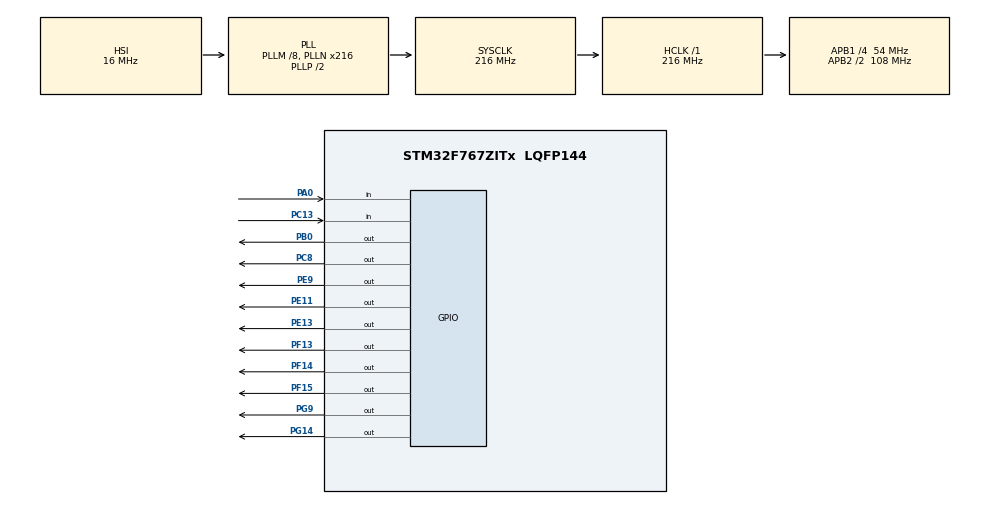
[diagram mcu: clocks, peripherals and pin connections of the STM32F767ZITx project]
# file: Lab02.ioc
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Mcu.Family=STM32F7
Mcu.Name=STM32F767ZITx
Mcu.Package=LQFP144
NVIC.PriorityGroup=NVIC_PRIORITYGROUP_4
PA0/WKUP.Signal=GPIO_Input
PB0.Signal=GPIO_Output
PC13.Signal=GPIO_Input
PC8.Signal=GPIO_Output
PE11.Signal=GPIO_Output
PE13.Signal=GPIO_Output
PE9.Signal=GPIO_Output
PF13.Signal=GPIO_Output
PF14.Signal=GPIO_Output
PF15.Signal=GPIO_Output
PG14.Signal=GPIO_Output
PG9.Signal=GPIO_Output
ProjectManager.HeapSize=0x200
ProjectManager.StackSize=0x400
ProjectManager.TargetToolchain=STM32CubeIDE
RCC.AHBFreq_Value=216000000
RCC.APB1CLKDivider=RCC_HCLK_DIV4
RCC.APB1Freq_Value=54000000
RCC.APB1TimFreq_Value=108000000
RCC.APB2CLKDivider=RCC_HCLK_DIV2
RCC.APB2Freq_Value=108000000
RCC.APB2TimFreq_Value=216000000
RCC.CortexFreq_Value=216000000
RCC.HCLKFreq_Value=216000000
RCC.HSE_VALUE=25000000
RCC.HSI_VALUE=16000000
RCC.LSE_VALUE=32768
RCC.PLLM=8
RCC.PLLN=216
RCC.SYSCLKFreq_VALUE=216000000
RCC.SYSCLKSource=RCC_SYSCLKSOURCE_PLLCLK
RCC.USBFreq_Value=216000000
RCC.VCOOutputFreq_Value=432000000
board=custom

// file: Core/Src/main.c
/* USER CODE BEGIN Header */
/**
 ******************************************************************************
 * @file           : main.c
 * @brief          : Main program body
 ******************************************************************************
 * @attention
 *
 * Copyright (c) 2023 STMicroelectronics.
 * All rights reserved.
 *
 * This software is licensed under terms that can be found in the LICENSE file
 * in the root directory of this software component.
 * If no LICENSE file comes with this software, it is provided AS-IS.
 *
 ******************************************************************************
 */
/* USER CODE END Header */
#include "main.h"
#include "gpio.h"

/* USER CODE BEGIN PV */
uint8_t num = 0;
uint8_t counting[9][8] = { { 0, 0, 0, 0, 0, 0, 0, 0 },
		{ 0, 0, 0, 0, 0, 0, 0, 1 }, { 0, 0, 0, 0, 0, 0, 1, 0 }, { 0, 0, 0, 0, 0,
				1, 0, 0 }, { 0, 0, 0, 0, 1, 0, 0, 0 },
		{ 0, 0, 0, 1, 0, 0, 0, 0 }, { 0, 0, 1, 0, 0, 0, 0, 0 }, { 0, 1, 0, 0, 0,
				0, 0, 0 }, { 1, 0, 0, 0, 0, 0, 0, 0 } };
uint8_t temp = 0;

/* USER CODE END PV */

void SystemClock_Config(void);
static void MPU_Initialize(void);
static void MPU_Config(void);

int main(void) {

	/* MCU Configuration--------------------------------------------------------*/

	/* Reset of all peripherals, Initializes the Flash interface and the Systick. */
	HAL_Init();

	/* MPU Configuration--------------------------------------------------------*/
	MPU_Config();

	/* Configure the system clock */
	SystemClock_Config();

	/* Initialize all configured peripherals */
	MX_GPIO_Init();

	/* Infinite loop */
	while (1) {

		/* USER CODE BEGIN 3 */
		/*01*/
//	//Check whether button is pressed
//	if (HAL_GPIO_ReadPin(GPIOC, GPIO_PIN_13) == GPIO_PIN_SET)
//	{
//		//Turn on LD1 at PB0
//		HAL_GPIO_WritePin(GPIOB, GPIO_PIN_0, GPIO_PIN_SET);
//
//		//Delay 1,000 milliseconds
//		HAL_Delay(1000);
//
//		//Turn off LD1 at PB0
//		HAL_GPIO_WritePin(GPIOB, GPIO_PIN_0, GPIO_PIN_RESET);
//	}
		/*02*/
//	//Check whether button is pressed
//	if (HAL_GPIO_ReadPin(GPIOA, GPIO_PIN_0) == GPIO_PIN_RESET)
//	{
//	  	//Turn on LD2 at PC8
//	  	HAL_GPIO_WritePin(GPIOC, GPIO_PIN_8, GPIO_PIN_SET);
//
//        //Delay 1,000 milliseconds
//	    HAL_Delay(1000);
//
//	  	//Turn off LD2 at PC8
//	  	HAL_GPIO_WritePin(GPIOC, GPIO_PIN_8, GPIO_PIN_RESET);
//	}
		/*04*/
		if (HAL_GPIO_ReadPin(GPIOC, GPIO_PIN_13) == GPIO_PIN_SET) {
			num++;
			if (num > 8) {
				num = 0;
			}
			HAL_Delay(300);
		}

		HAL_GPIO_WritePin(GPIOF, GPIO_PIN_13, counting[num][0]);
		HAL_GPIO_WritePin(GPIOE, GPIO_PIN_9, counting[num][1]);
		HAL_GPIO_WritePin(GPIOE, GPIO_PIN_11, counting[num][2]);
		HAL_GPIO_WritePin(GPIOF, GPIO_PIN_14, counting[num][3]);
		HAL_GPIO_WritePin(GPIOE, GPIO_PIN_13, counting[num][4]);
		HAL_GPIO_WritePin(GPIOF, GPIO_PIN_15, counting[num][5]);
		HAL_GPIO_WritePin(GPIOG, GPIO_PIN_14, counting[num][6]);
		HAL_GPIO_WritePin(GPIOG, GPIO_PIN_9, counting[num][7]);

		if (HAL_GPIO_ReadPin(GPIOA, GPIO_PIN_0) == GPIO_PIN_RESET) {
			temp = num;
			num--;
			while (num != temp) {
				if (num >= 9) {
					num = 8;
				}
				HAL_GPIO_WritePin(GPIOF, GPIO_PIN_13, counting[num][0]);
				HAL_GPIO_WritePin(GPIOE, GPIO_PIN_9, counting[num][1]);
				HAL_GPIO_WritePin(GPIOE, GPIO_PIN_11, counting[num][2]);
				HAL_GPIO_WritePin(GPIOF, GPIO_PIN_14, counting[num][3]);
				HAL_GPIO_WritePin(GPIOE, GPIO_PIN_13, counting[num][4]);
				HAL_GPIO_WritePin(GPIOF, GPIO_PIN_15, counting[num][5]);
				HAL_GPIO_WritePin(GPIOG, GPIO_PIN_14, counting[num][6]);
				HAL_GPIO_WritePin(GPIOG, GPIO_PIN_9, counting[num][7]);
				HAL_Delay(1000);
				num--;

			}
		}
	}
	/* USER CODE END 3 */
}

void SystemClock_Config(void) {
	RCC_OscInitTypeDef RCC_OscInitStruct = { 0 };
	RCC_ClkInitTypeDef RCC_ClkInitStruct = { 0 };

	/** Configure the main internal regulator output voltage
	 */
	__HAL_RCC_PWR_CLK_ENABLE();
	__HAL_PWR_VOLTAGESCALING_CONFIG(PWR_REGULATOR_VOLTAGE_SCALE1);

	/** Initializes the RCC Oscillators according to the specified parameters
	 * in the RCC_OscInitTypeDef structure.
	 */
	RCC_OscInitStruct.OscillatorType = RCC_OSCILLATORTYPE_HSI;
	RCC_OscInitStruct.HSIState = RCC_HSI_ON;
	RCC_OscInitStruct.HSICalibrationValue = RCC_HSICALIBRATION_DEFAULT;
	RCC_OscInitStruct.PLL.PLLState = RCC_PLL_ON;
	RCC_OscInitStruct.PLL.PLLSource = RCC_PLLSOURCE_HSI;
	RCC_OscInitStruct.PLL.PLLM = 8;
	RCC_OscInitStruct.PLL.PLLN = 216;
	RCC_OscInitStruct.PLL.PLLP = RCC_PLLP_DIV2;
	RCC_OscInitStruct.PLL.PLLQ = 2;
	RCC_OscInitStruct.PLL.PLLR = 2;
	if (HAL_RCC_OscConfig(&RCC_OscInitStruct) != HAL_OK) {
		Error_Handler();
	}

	/** Activate the Over-Drive mode
	 */
	if (HAL_PWREx_EnableOverDrive() != HAL_OK) {
		Error_Handler();
	}

	/** Initializes the CPU, AHB and APB buses clocks
	 */
	RCC_ClkInitStruct.ClockType = RCC_CLOCKTYPE_HCLK | RCC_CLOCKTYPE_SYSCLK
			| RCC_CLOCKTYPE_PCLK1 | RCC_CLOCKTYPE_PCLK2;
	RCC_ClkInitStruct.SYSCLKSource = RCC_SYSCLKSOURCE_PLLCLK;
	RCC_ClkInitStruct.AHBCLKDivider = RCC_SYSCLK_DIV1;
	RCC_ClkInitStruct.APB1CLKDivider = RCC_HCLK_DIV4;
	RCC_ClkInitStruct.APB2CLKDivider = RCC_HCLK_DIV2;

	if (HAL_RCC_ClockConfig(&RCC_ClkInitStruct, FLASH_LATENCY_7) != HAL_OK) {
		Error_Handler();
	}
}

/* MPU Configuration */

void MPU_Config(void) {
	MPU_Region_InitTypeDef MPU_InitStruct = { 0 };

	/* Disables the MPU */
	HAL_MPU_Disable();

	/** Initializes and configures the Region and the memory to be protected
	 */
	MPU_InitStruct.Enable = MPU_REGION_ENABLE;
	MPU_InitStruct.Number = MPU_REGION_NUMBER0;
	MPU_InitStruct.BaseAddress = 0x0;
	MPU_InitStruct.Size = MPU_REGION_SIZE_4GB;
	MPU_InitStruct.SubRegionDisable = 0x87;
	MPU_InitStruct.TypeExtField = MPU_TEX_LEVEL0;
	MPU_InitStruct.AccessPermission = MPU_REGION_NO_ACCESS;
	MPU_InitStruct.DisableExec = MPU_INSTRUCTION_ACCESS_DISABLE;
	MPU_InitStruct.IsShareable = MPU_ACCESS_SHAREABLE;
	MPU_InitStruct.IsCacheable = MPU_ACCESS_NOT_CACHEABLE;
	MPU_InitStruct.IsBufferable = MPU_ACCESS_NOT_BUFFERABLE;

	HAL_MPU_ConfigRegion(&MPU_InitStruct);
	/* Enables the MPU */
	HAL_MPU_Enable(MPU_PRIVILEGED_DEFAULT);

}

void Error_Handler(void) {
	__disable_irq();
	while (1) {
	}
}
